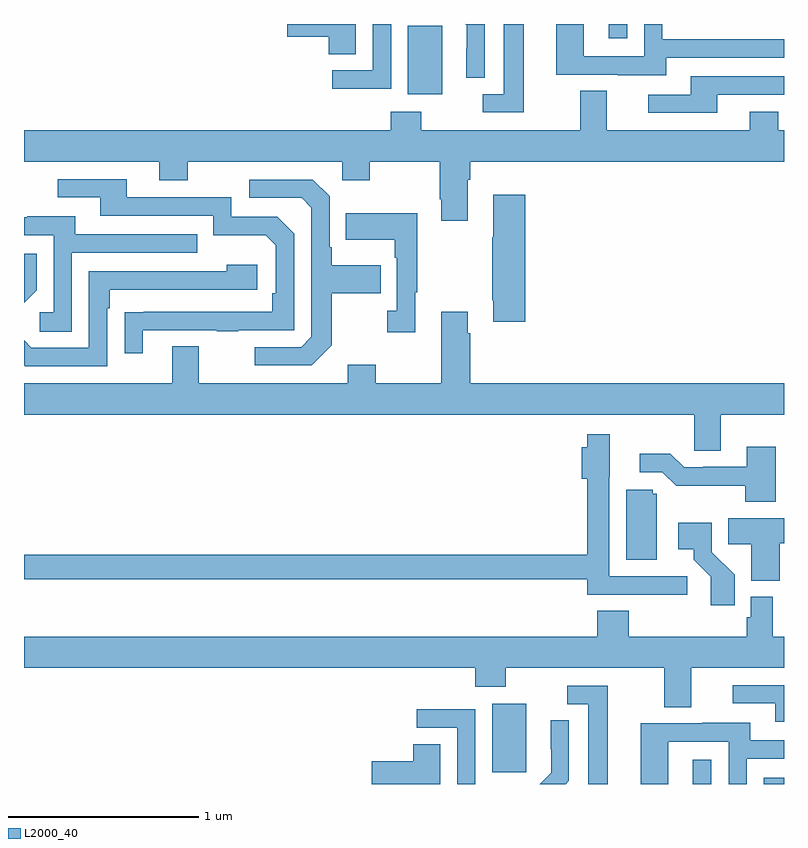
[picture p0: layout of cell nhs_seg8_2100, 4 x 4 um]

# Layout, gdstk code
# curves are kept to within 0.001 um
import gdstk
lib = gdstk.Library(unit=1e-6, precision=1e-09)
def R(c, l, rs):  # rectangles x0, y0, x1, y1
    for r in rs: c.add(gdstk.rectangle(r[:2], r[2:], *l))
def P(c, l, *ps):  # polygons
    for p in ps: c.add(gdstk.Polygon(p, *l))
L2000_40 = (2000, 40)

nhs_seg8_2100 = lib.new_cell('nhs_seg8_2100')
R(nhs_seg8_2100, L2000_40, [(246.521,1103.9,246.618,1104.028), (246.894,1103.9,247,1103.934), (245.465,1103.961,245.644,1104.322), (245.021,1107.53,245.2,1107.891), (246.077,1107.825,246.174,1107.9)])
P(nhs_seg8_2100, L2000_40, [(244.747,1107.9),(244.386,1107.9),(244.386,1107.833),(244.604,1107.833),(244.604,1107.742),(244.747,1107.742)],
  [(246.379,1107.723),(247,1107.723),(247,1107.819),(246.36,1107.819),(246.36,1107.9),(246.264,1107.9),(246.264,1107.729),(245.946,1107.729),(245.946,1107.9),(245.801,1107.9),(245.801,1107.633),(246.125,1107.633),(246.125,1107.629),(246.379,1107.629)],
  [(245.424,1107.9),(245.323,1107.9),(245.33,1107.893),(245.33,1107.77),(245.328,1107.77),(245.328,1107.616),(245.424,1107.616)],
  [(244.932,1107.9),(244.836,1107.9),(244.836,1107.657),(244.623,1107.657),(244.623,1107.559),(244.932,1107.559)],
  [(245.629,1107.9),(245.525,1107.9),(245.525,1107.531),(245.415,1107.531),(245.415,1107.435),(245.629,1107.435)],
  [(246.649,1107.528),(247,1107.528),(247,1107.624),(246.509,1107.624),(246.509,1107.528),(246.285,1107.528),(246.285,1107.432),(246.649,1107.432)],
  [(245.335,1107.08),(245.348,1107.08),(245.348,1107.176),(247,1107.176),(247,1107.34),(246.969,1107.34),(246.969,1107.439),(246.821,1107.439),(246.821,1107.34),(246.067,1107.34),(246.067,1107.548),(245.927,1107.548),(245.927,1107.34),(245.091,1107.34),(245.091,1107.439),(244.931,1107.439),(244.931,1107.34),(243,1107.34),(243,1107.176),(243.713,1107.176),(243.713,1107.077),(243.861,1107.077),(243.861,1107.176),(244.674,1107.176),(244.674,1107.077),(244.821,1107.077),(244.821,1107.176),(245.188,1107.176),(245.188,1106.977),(245.195,1106.977),(245.195,1106.865),(245.335,1106.865)],
  [(243.625,1106.289),(244.015,1106.289),(244.015,1106.284),(244.127,1106.284),(244.127,1106.289),(244.422,1106.289),(244.422,1106.796),(244.332,1106.886),(244.092,1106.886),(244.092,1106.988),(243.541,1106.988),(243.541,1107.084),(243.177,1107.084),(243.177,1106.988),(243.401,1106.988),(243.401,1106.892),(243.996,1106.892),(243.996,1106.789),(244.273,1106.789),(244.326,1106.736),(244.326,1106.482),(244.306,1106.482),(244.306,1106.385),(243.529,1106.384),(243.529,1106.166),(243.625,1106.166)],
  [(244.621,1106.209),(244.621,1106.482),(244.877,1106.482),(244.877,1106.629),(244.621,1106.629),(244.621,1106.725),(244.608,1106.725),(244.608,1106.994),(244.521,1107.081),(244.185,1107.081),(244.185,1106.985),(244.461,1106.985),(244.512,1106.934),(244.512,1106.253),(244.458,1106.199),(244.215,1106.199),(244.215,1106.103),(244.515,1106.103)],
  [(245.639,1107.001),(245.471,1107.001),(245.471,1106.777),(245.464,1106.777),(245.464,1106.446),(245.471,1106.446),(245.471,1106.334),(245.639,1106.334)],
  [(245.059,1106.489),(245.071,1106.489),(245.071,1106.905),(244.693,1106.905),(244.693,1106.765),(244.95,1106.765),(244.95,1106.669),(244.962,1106.669),(244.962,1106.39),(244.911,1106.39),(244.911,1106.277),(245.059,1106.277)],
  [(243.252,1106.697),(243.911,1106.697),(243.911,1106.793),(243.271,1106.793),(243.271,1106.887),(243.017,1106.887),(243.017,1106.883),(243,1106.883),(243,1106.787),(243.156,1106.787),(243.156,1106.382),(243.084,1106.382),(243.084,1106.281),(243.252,1106.281)],
  [(243.066,1106.498),(243.066,1106.692),(243,1106.692),(243,1106.432)],
  [(243.438,1106.405),(243.451,1106.405),(243.451,1106.502),(244.228,1106.502),(244.228,1106.632),(244.067,1106.632),(244.067,1106.598),(243.342,1106.598),(243.342,1106.196),(243.039,1106.196),(243,1106.235),(243,1106.103),(243.003,1106.1),(243.438,1106.1)],
  [(246.667,1105.844),(247,1105.844),(247,1106.008),(245.348,1106.008),(245.348,1106.273),(245.335,1106.273),(245.335,1106.386),(245.195,1106.386),(245.195,1106.008),(244.851,1106.008),(244.851,1106.107),(244.703,1106.107),(244.703,1106.008),(243.919,1106.008),(243.919,1106.203),(243.779,1106.203),(243.779,1106.008),(243,1106.008),(243,1105.844),(246.528,1105.844),(246.528,1105.654),(246.667,1105.654)],
  [(246.49,1104.993),(246.081,1104.993),(246.081,1105.518),(246.082,1105.518),(246.082,1105.741),(245.965,1105.741),(245.965,1105.672),(245.936,1105.672),(245.936,1105.507),(245.965,1105.507),(245.965,1105.106),(243,1105.106),(243,1104.978),(245.965,1104.978),(245.965,1104.897),(246.265,1104.897),(246.265,1104.895),(246.49,1104.895)],
  [(246.956,1105.675),(246.803,1105.675),(246.803,1105.569),(246.574,1105.569),(246.574,1105.566),(246.474,1105.566),(246.401,1105.639),(246.24,1105.639),(246.24,1105.542),(246.36,1105.542),(246.433,1105.469),(246.796,1105.47),(246.796,1105.385),(246.956,1105.385)],
  [(246.331,1105.428),(246.309,1105.428),(246.309,1105.449),(246.17,1105.449),(246.17,1105.08),(246.331,1105.08)],
  [(246.977,1105.166),(247,1105.166),(247,1105.3),(246.706,1105.3),(246.706,1105.162),(246.827,1105.162),(246.827,1104.971),(246.977,1104.971)],
  [(246.74,1105.002),(246.621,1105.121),(246.621,1105.276),(246.444,1105.276),(246.444,1105.136),(246.524,1105.136),(246.524,1105.081),(246.615,1104.991),(246.615,1104.84),(246.74,1104.84)],
  [(246.511,1104.512),(247,1104.512),(247,1104.676),(246.941,1104.676),(246.941,1104.886),(246.825,1104.886),(246.825,1104.777),(246.805,1104.777),(246.805,1104.676),(246.182,1104.676),(246.182,1104.812),(246.017,1104.812),(246.017,1104.676),(243,1104.676),(243,1104.512),(245.375,1104.512),(245.375,1104.413),(245.535,1104.413),(245.535,1104.512),(246.371,1104.512),(246.371,1104.304),(246.511,1104.304)],
  [(247,1104.42),(246.729,1104.42),(246.729,1104.324),(246.953,1104.324),(246.953,1104.228),(247,1104.228)],
  [(246.073,1104.417),(245.859,1104.417),(245.859,1104.321),(245.969,1104.321),(245.969,1103.9),(246.073,1103.9)],
  [(245.376,1104.294),(245.067,1104.294),(245.067,1104.195),(245.28,1104.195),(245.28,1103.9),(245.376,1103.9)],
  [(245.868,1103.918),(245.868,1104.236),(245.772,1104.236),(245.772,1104.082),(245.774,1104.082),(245.774,1103.96),(245.714,1103.9),(245.85,1103.9)],
  [(246.39,1104.123),(246.708,1104.123),(246.708,1103.9),(246.804,1103.9),(246.804,1104.033),(247,1104.033),(247,1104.129),(246.823,1104.129),(246.823,1104.223),(246.569,1104.223),(246.569,1104.219),(246.245,1104.219),(246.245,1103.9),(246.39,1103.9)],
  [(245.191,1104.11),(245.048,1104.11),(245.048,1104.02),(244.83,1104.02),(244.83,1103.9),(245.191,1103.9)])

lib.write_gds('nhs_seg8_2100.gds')
